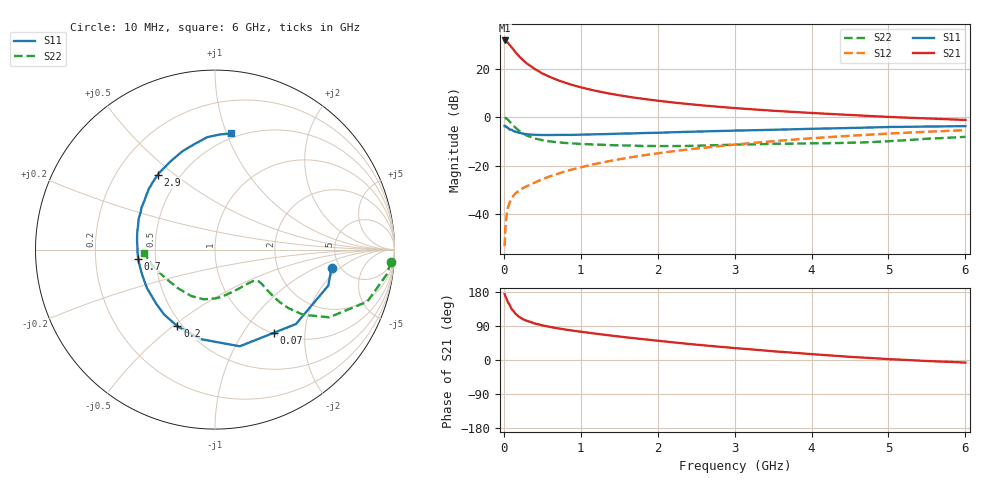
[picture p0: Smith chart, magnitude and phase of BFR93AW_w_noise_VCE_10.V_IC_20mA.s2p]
! (c) 2017  Infineon Technologies AG, Munich
! Infineon Technologies  Discrete & RF Semiconductors
! BFR93AW
! VCE =  10. V,  IC =  20 mA
! Common Emitter S-Parameters:  Jan 2017
# GHz  S  MA  R  50
!  f  S11  S21  S12  S22
! GHz  MAG  ANG  MAG  ANG  MAG  ANG  MAG  ANG
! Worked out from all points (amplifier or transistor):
!   77 points, 10 MHz to 6 GHz, reference 50 ohm
!   highest |S21| = 31.6 dB at 10 MHz (marker M1)
!   |S21| within 3 dB of that: start of sweep to 106 MHz
!   unconditionally stable (mu >= 1): 695.2 MHz to 2.087 GHz
!   at 130 MHz: K = 0.42, MSG = 29.9 dB, |S12| = -32.2 dB
!   at 2.2 GHz: K = 0.99, MSG = 10.1 dB, |S12| = -14.0 dB
!   at 6 GHz: K = 0.85, MSG = 2.1 dB, |S12| = -5.4 dB
!   lowest NFmin = 1.52 dB at 450 MHz
!   S11 on the Smith chart (normalised r, x): 10 MHz: 4.26, -1.53; 70 MHz: 1.01, -1.39; 200 MHz: 0.47, -0.52; 700 MHz: 0.40, -0.05; 2.9 GHz: 0.38, +0.43; 6 GHz: 0.46, +1.04
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0.01  0.6574 -8.9  38.12 173.8  0.0022 82.5  0.9834 -4.0
0.02  0.6622 -17.7  37.88 168.7  0.0051 82.6  0.9668 -8.2
0.05  0.6128 -42.6  34.56 153.7  0.0132 72.4  0.8967 -18.9
0.07  0.5673 -54.9  31.43 147.1  0.0164 67.6  0.8295 -23.1
0.1  0.5561 -75.6  27.74 134.7  0.0213 63.2  0.7388 -30.7
0.15  0.505 -99.1  22.02 122.3  0.0269 57.6  0.61 -36.5
0.2  0.4758 -116.1  17.86 113.8  0.0306 57.4  0.5211 -38.6
0.25  0.4595 -128.2  14.94 107.6  0.0347 57.1  0.461 -39.1
0.3  0.445 -137.4  12.73 103.2  0.0379 58.2  0.4174 -38.8
0.4  0.4355 -150.5  9.866 96.4  0.0448 60.3  0.3653 -37.7
0.5  0.4296 -160.2  7.996 91.4  0.0526 62.7  0.3357 -36.7
0.6  0.4291 -167.1  6.741 87.3  0.0607 64.3  0.3168 -36.1
0.7  0.4311 -172.9  5.814 83.7  0.068 65.9  0.3035 -36.0
0.9  0.4328 177.7  4.563 77.4  0.0847 67.5  0.2879 -37.1
1.1  0.4403 170.2  3.781 72.0  0.1015 68.5  0.2771 -39.2
1.5  0.4583 158.2  2.827 62.0  0.1357 67.7  0.2625 -46.4
2.1  0.483 143.5  2.096 48.8  0.1893 64.9  0.2541 -62.4
2.9  0.524 127.5  1.587 33.3  0.263 59.0  0.2688 -86.6
3.1  0.5327 123.7  1.502 29.9  0.2817 57.2  0.2731 -92.2
4.1  0.5809 106.8  1.199 14.1  0.3769 47.7  0.2901 -120.4
5.1  0.6303 92.6  0.998 1.4  0.4673 36.8  0.3266 -154.1
6  0.654 82.0  0.878 -6.9  0.5395 26.5  0.3937 -176.9
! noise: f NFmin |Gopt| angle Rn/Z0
0.45  1.52  0.14  161  0.15
0.9  1.8  0.23  175  0.15
1.9  2.8  0.48  -138  0.23
2.4  3.43  0.54  -126  0.45
